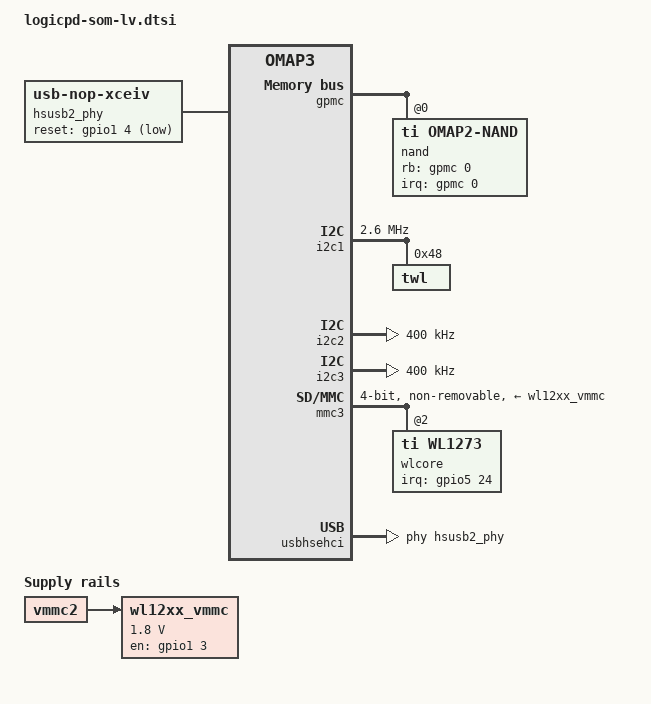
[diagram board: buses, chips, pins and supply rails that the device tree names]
/*
 * This program is free software; you can redistribute it and/or modify
 * it under the terms of the GNU General Public License version 2 as
 * published by the Free Software Foundation.
 */

#include <dt-bindings/input/input.h>

/ {
	cpus {
		cpu@0 {
			cpu0-supply = <&vcc>;
		};
	};

	memory@80000000 {
		device_type = "memory";
		reg = <0x80000000 0>;
	};

	wl12xx_vmmc: wl12xx_vmmc {
		compatible = "regulator-fixed";
		regulator-name = "vwl1271";
		regulator-min-microvolt = <1800000>;
		regulator-max-microvolt = <1800000>;
		gpio = <&gpio1 3 0>;   /* gpio_3 */
		startup-delay-us = <70000>;
		enable-active-high;
		vin-supply = <&vmmc2>;
	};

	/* HS USB Host PHY on PORT 1 */
	hsusb2_phy: hsusb2_phy {
		compatible = "usb-nop-xceiv";
		reset-gpios = <&gpio1 4 GPIO_ACTIVE_LOW>; /* gpio_4 */
	};
};

&gpmc {
	ranges = <0 0 0x00000000 0x1000000>;	/* CS0: 16MB for NAND */

	nand@0,0 {
		compatible = "ti,omap2-nand";
		reg = <0 0 4>; /* CS0, offset 0, IO size 4 */
		interrupt-parent = <&gpmc>;
		interrupts = <0 IRQ_TYPE_NONE>, /* fifoevent */
			     <1 IRQ_TYPE_NONE>;	/* termcount */
		linux,mtd-name = "micron,mt29f4g16abbda3w";
		nand-bus-width = <16>;
		ti,nand-ecc-opt = "bch8";
		rb-gpios = <&gpmc 0 GPIO_ACTIVE_HIGH>; /* gpmc_wait0 */
		gpmc,sync-clk-ps = <0>;
		gpmc,cs-on-ns = <0>;
		gpmc,cs-rd-off-ns = <44>;
		gpmc,cs-wr-off-ns = <44>;
		gpmc,adv-on-ns = <6>;
		gpmc,adv-rd-off-ns = <34>;
		gpmc,adv-wr-off-ns = <44>;
		gpmc,we-off-ns = <40>;
		gpmc,oe-off-ns = <54>;
		gpmc,access-ns = <64>;
		gpmc,rd-cycle-ns = <82>;
		gpmc,wr-cycle-ns = <82>;
		gpmc,wr-access-ns = <40>;
		gpmc,wr-data-mux-bus-ns = <0>;
		gpmc,device-width = <2>;
		#address-cells = <1>;
		#size-cells = <1>;

		/* u-boot uses mtdparts=omap2-nand.0:512k(x-loader),1920k(u-boot),128k(u-boot-env),4m(kernel),-(fs) */

		x-loader@0 {
			label = "x-loader";
			reg = <0 0x80000>;
		};

		bootloaders@80000 {
			label = "u-boot";
			reg = <0x80000 0x1e0000>;
		};

		bootloaders_env@260000 {
			label = "u-boot-env";
			reg = <0x260000 0x20000>;
		};

		kernel@280000 {
			label = "kernel";
			reg = <0x280000 0x400000>;
		};

		filesystem@680000 {
			label = "fs";
			reg = <0x680000 0>;	/* 0 = MTDPART_SIZ_FULL */
		};
	};
};

&i2c1 {
	clock-frequency = <2600000>;

	twl: twl@48 {
		reg = <0x48>;
		interrupts = <7>; /* SYS_NIRQ cascaded to intc */
		interrupt-parent = <&intc>;
		twl_audio: audio {
			compatible = "ti,twl4030-audio";
			codec {
			};
		};
	};
};

&i2c2 {
	clock-frequency = <400000>;
};

&i2c3 {
	clock-frequency = <400000>;
};

&mmc3 {
	interrupts-extended = <&intc 94 &omap3_pmx_core2 0x46>;
	pinctrl-0 = <&mmc3_pins>;
	pinctrl-names = "default";
	vmmc-supply = <&wl12xx_vmmc>;
	non-removable;
	bus-width = <4>;
	cap-power-off-card;
	#address-cells = <1>;
	#size-cells = <0>;
	wlcore: wlcore@2 {
		compatible = "ti,wl1273";
		reg = <2>;
		interrupt-parent = <&gpio5>;
		interrupts = <24 IRQ_TYPE_LEVEL_HIGH>; /* gpio 152 */
		ref-clock-frequency = <26000000>;
	};
};

&usbhshost {
	port2-mode = "ehci-phy";
};

&usbhsehci {
	phys = <0 &hsusb2_phy>;
};


&omap3_pmx_core {
	pinctrl-names = "default";
	pinctrl-0 = <&hsusb2_pins>;

	mmc3_pins: pinmux_mm3_pins {
		pinctrl-single,pins = <
			OMAP3_CORE1_IOPAD(0x2164, PIN_INPUT_PULLUP | MUX_MODE3)	/* sdmmc2_dat4.sdmmc3_dat0 */
			OMAP3_CORE1_IOPAD(0x2166, PIN_INPUT_PULLUP | MUX_MODE3)	/* sdmmc2_dat5.sdmmc3_dat1 */
			OMAP3_CORE1_IOPAD(0x2168, PIN_INPUT_PULLUP | MUX_MODE3)	/* sdmmc2_dat6.sdmmc3_dat2 */
			OMAP3_CORE1_IOPAD(0x216a, PIN_INPUT_PULLUP | MUX_MODE3)	/* sdmmc2_dat6.sdmmc3_dat3 */
			OMAP3_CORE1_IOPAD(0x2184, PIN_INPUT_PULLUP | MUX_MODE4)	/* mcbsp4_clkx.gpio_152 */
			OMAP3_CORE1_IOPAD(0x2a0c, PIN_OUTPUT | MUX_MODE4)	/* sys_boot1.gpio_3 */
			OMAP3_CORE1_IOPAD(0x21d0, PIN_INPUT_PULLUP | MUX_MODE3) /* mcspi1_cs1.sdmmc3_cmd */
			OMAP3_CORE1_IOPAD(0x21d2, PIN_INPUT_PULLUP | MUX_MODE3)	/* mcspi1_cs2.sdmmc_clk */
		>;
	};
	mcbsp2_pins: pinmux_mcbsp2_pins {
		pinctrl-single,pins = <
			OMAP3_CORE1_IOPAD(0x213c, PIN_INPUT | MUX_MODE0)        /* mcbsp2_fsx */
			OMAP3_CORE1_IOPAD(0x213e, PIN_INPUT | MUX_MODE0)        /* mcbsp2_clkx */
			OMAP3_CORE1_IOPAD(0x2140, PIN_INPUT | MUX_MODE0)        /* mcbsp2_dr */
			OMAP3_CORE1_IOPAD(0x2142, PIN_OUTPUT | MUX_MODE0)       /* mcbsp2_dx */
		>;
	};
	uart2_pins: pinmux_uart2_pins {
		pinctrl-single,pins = <
			OMAP3_CORE1_IOPAD(0x2174, PIN_INPUT | MUX_MODE0)	/* uart2_cts.uart2_cts */
			OMAP3_CORE1_IOPAD(0x2176, PIN_OUTPUT | MUX_MODE0)	/* uart2_rts .uart2_rts*/
			OMAP3_CORE1_IOPAD(0x2178, PIN_OUTPUT | MUX_MODE0)	/* uart2_tx.uart2_tx */
			OMAP3_CORE1_IOPAD(0x217a, PIN_INPUT | MUX_MODE0)	/* uart2_rx.uart2_rx */
			OMAP3_CORE1_IOPAD(0x2198, PIN_OUTPUT | MUX_MODE4)	/* GPIO_162,BT_EN */
		>;
	};
	mcspi1_pins: pinmux_mcspi1_pins {
		pinctrl-single,pins = <
			OMAP3_CORE1_IOPAD(0x21c8, PIN_INPUT | MUX_MODE0)        /* mcspi1_clk.mcspi1_clk */
			OMAP3_CORE1_IOPAD(0x21ca, PIN_OUTPUT | MUX_MODE0)       /* mcspi1_simo.mcspi1_simo */
			OMAP3_CORE1_IOPAD(0x21cc, PIN_INPUT_PULLUP | MUX_MODE0) /* mcspi1_somi.mcspi1_somi */
			OMAP3_CORE1_IOPAD(0x21ce, PIN_OUTPUT | MUX_MODE0)       /* mcspi1_cs0.mcspi1_cs0 */
		>;
	};

	hsusb2_pins: pinmux_hsusb2_pins {
		pinctrl-single,pins = <
			OMAP3_CORE1_IOPAD(0x21d4, PIN_INPUT_PULLDOWN | MUX_MODE3)       /* mcspi1_cs3.hsusb2_data2 */
			OMAP3_CORE1_IOPAD(0x21d6, PIN_INPUT_PULLDOWN | MUX_MODE3)       /* mcspi2_clk.hsusb2_data7 */
			OMAP3_CORE1_IOPAD(0x21d8, PIN_INPUT_PULLDOWN | MUX_MODE3)       /* mcspi2_simo.hsusb2_data4 */
			OMAP3_CORE1_IOPAD(0x21da, PIN_INPUT_PULLDOWN | MUX_MODE3)       /* mcspi2_somi.hsusb2_data5 */
			OMAP3_CORE1_IOPAD(0x21dc, PIN_INPUT_PULLDOWN | MUX_MODE3)       /* mcspi2_cs0.hsusb2_data6 */
			OMAP3_CORE1_IOPAD(0x21de, PIN_INPUT_PULLDOWN | MUX_MODE3)       /* mcspi2_cs1.hsusb2_data3 */
		>;
	};

	hsusb_otg_pins: pinmux_hsusb_otg_pins {
		pinctrl-single,pins = <
			OMAP3_CORE1_IOPAD(0x21a2, PIN_INPUT | MUX_MODE0)	/* hsusb0_clk.hsusb0_clk */
			OMAP3_CORE1_IOPAD(0x21a4, PIN_OUTPUT | MUX_MODE0)	/* hsusb0_stp.hsusb0_stp */
			OMAP3_CORE1_IOPAD(0x21a6, PIN_INPUT | MUX_MODE0)	/* hsusb0_dir.hsusb0_dir */
			OMAP3_CORE1_IOPAD(0x21a8, PIN_INPUT | MUX_MODE0)	/* hsusb0_nxt.hsusb0_nxt */
			OMAP3_CORE1_IOPAD(0x21aa, PIN_INPUT | MUX_MODE0)	/* hsusb0_data0.hsusb0_data0 */
			OMAP3_CORE1_IOPAD(0x21ac, PIN_INPUT | MUX_MODE0)	/* hsusb0_data1.hsusb0_data1 */
			OMAP3_CORE1_IOPAD(0x21ae, PIN_INPUT | MUX_MODE0)	/* hsusb0_data2.hsusb0_data2 */
			OMAP3_CORE1_IOPAD(0x21b0, PIN_INPUT | MUX_MODE0)	/* hsusb0_data3.hsusb0_data3 */
			OMAP3_CORE1_IOPAD(0x21b2, PIN_INPUT | MUX_MODE0)	/* hsusb0_data4.hsusb0_data4 */
			OMAP3_CORE1_IOPAD(0x21b4, PIN_INPUT | MUX_MODE0)	/* hsusb0_data5.hsusb0_data5 */
			OMAP3_CORE1_IOPAD(0x21b6, PIN_INPUT | MUX_MODE0)	/* hsusb0_data6.hsusb0_data6 */
			OMAP3_CORE1_IOPAD(0x21b8, PIN_INPUT | MUX_MODE0)	/* hsusb0_data7.hsusb0_data7 */
		>;
	};


};

&omap3_pmx_wkup {
	pinctrl-names = "default";
	pinctrl-0 = <&hsusb2_reset_pin>;
	hsusb2_reset_pin: pinmux_hsusb1_reset_pin {
		pinctrl-single,pins = <
			OMAP3_WKUP_IOPAD(0x2a0e, PIN_OUTPUT | MUX_MODE4)	/* sys_boot2.gpio_4 */
		>;
	};
};

&omap3_pmx_core2 {
	pinctrl-names = "default";
	pinctrl-0 = <&hsusb2_2_pins>;
	hsusb2_2_pins: pinmux_hsusb2_2_pins {
		pinctrl-single,pins = <
			OMAP3630_CORE2_IOPAD(0x25f0, PIN_OUTPUT | MUX_MODE3)            /* etk_d10.hsusb2_clk */
			OMAP3630_CORE2_IOPAD(0x25f2, PIN_OUTPUT | MUX_MODE3)            /* etk_d11.hsusb2_stp */
			OMAP3630_CORE2_IOPAD(0x25f4, PIN_INPUT_PULLDOWN | MUX_MODE3)    /* etk_d12.hsusb2_dir */
			OMAP3630_CORE2_IOPAD(0x25f6, PIN_INPUT_PULLDOWN | MUX_MODE3)    /* etk_d13.hsusb2_nxt */
			OMAP3630_CORE2_IOPAD(0x25f8, PIN_INPUT_PULLDOWN | MUX_MODE3)    /* etk_d14.hsusb2_data0 */
			OMAP3630_CORE2_IOPAD(0x25fa, PIN_INPUT_PULLDOWN | MUX_MODE3)    /* etk_d15.hsusb2_data1 */
		>;
	};
};

&uart2 {
	interrupts-extended = <&intc 73 &omap3_pmx_core OMAP3_UART2_RX>;
	pinctrl-names = "default";
	pinctrl-0 = <&uart2_pins>;
};

&mcspi1 {
	pinctrl-names = "default";
	pinctrl-0 = <&mcspi1_pins>;
};

#include "twl4030.dtsi"
#include "twl4030_omap3.dtsi"

&twl {
	twl_power: power {
		compatible = "ti,twl4030-power-idle-osc-off", "ti,twl4030-power-idle";
		ti,use_poweroff;
	};
};

&twl_gpio {
	ti,use-leds;
};
